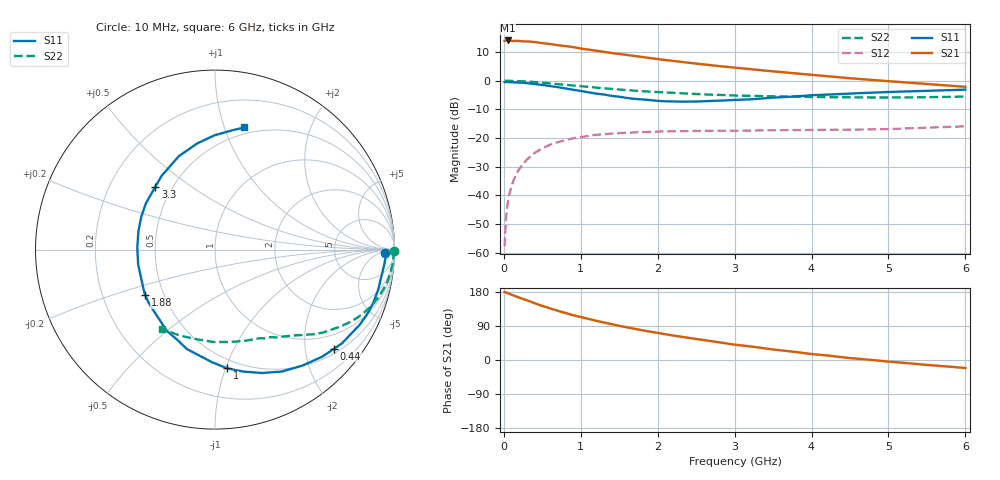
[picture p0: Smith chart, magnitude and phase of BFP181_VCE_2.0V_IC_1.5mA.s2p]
! Infineon Technologies  Discrete & RF Semiconductors
! BFP181
! VCE = 2.0 V,  IC =  1.5 mA
! Common Emitter S-Parameters:  Jan 2016
# GHz  S  MA  R  50
!  f  S11  S21  S12  S22
! GHz  MAG  ANG  MAG  ANG  MAG  ANG  MAG  ANG
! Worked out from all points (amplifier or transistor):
!   210 points, 10 MHz to 6 GHz, reference 50 ohm
!   highest |S21| = 14.1 dB at 50 MHz (marker M1)
!   |S21| within 3 dB of that: start of sweep to 1.055 GHz
!   unconditionally stable (mu >= 1): 2.637 GHz to end of sweep
!   at 185 MHz: K = 0.08, MSG = 22.7 dB, |S12| = -31.5 dB
!   at 1.52 GHz: K = 0.62, MSG = 13.8 dB, |S12| = -18.2 dB
!   at 6 GHz: K = 1.21, MAG = 4.1 dB, |S12| = -15.9 dB
!   S11 on the Smith chart (normalised r, x): 10 MHz: 32, -11; 440 MHz: 0.61, -2.65; 1 GHz: 0.43, -1.01; 1.88 GHz: 0.39, -0.25; 3.3 GHz: 0.40, +0.37; 6 GHz: 0.44, +1.17
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0.01  0.9452 -1.1  4.975 179.5  0.0013 96.7  0.9985 -0.4
0.03  0.9512 -2.7  5.03 178.1  0.0041 85.9  0.9982 -1.3
0.05  0.9482 -4.4  5.043 176.2  0.0073 88.0  0.9951 -2.2
0.095  0.9396 -8.7  4.939 172.8  0.0136 83.6  0.9945 -4.0
0.17  0.9331 -15.8  4.963 166.9  0.0246 79.7  0.9863 -7.2
0.3  0.9086 -27.4  4.854 157.7  0.0421 72.9  0.9688 -12.4
0.4  0.8796 -36.4  4.747 149.5  0.0549 67.7  0.9493 -16.3
0.44  0.8633 -39.7  4.65 146.8  0.0592 65.2  0.9394 -17.7
0.6  0.8093 -53.0  4.379 136.2  0.0765 57.7  0.9016 -23.0
0.8  0.7359 -69.1  4.05 123.9  0.0922 49.1  0.8497 -28.6
1  0.6647 -84.2  3.648 113.2  0.1041 42.1  0.7989 -33.4
1.02  0.6565 -85.6  3.619 112.2  0.1052 41.5  0.7946 -33.8
1.2  0.597 -98.4  3.34 103.4  0.114 35.7  0.7581 -37.6
1.5  0.5266 -120.9  2.943 90.1  0.1221 29.1  0.7012 -42.4
1.88  0.463 -147.1  2.51 75.7  0.1285 22.7  0.6476 -47.8
2.02  0.4439 -156.8  2.368 70.8  0.1304 20.8  0.6328 -49.5
2.42  0.4329 177.3  2.047 57.8  0.1332 16.2  0.5955 -55.3
3.1  0.4672 141.8  1.645 38.3  0.1346 11.6  0.5483 -64.9
3.3  0.4827 133.4  1.545 33.3  0.1357 10.7  0.5412 -68.1
4.1  0.5647 108.6  1.234 13.9  0.1387 7.6  0.5189 -82.7
5.1  0.6424 88.6  0.96 -5.8  0.145 7.1  0.5098 -103.7
6  0.6997 76.5  0.783 -21.2  0.1605 6.1  0.5305 -123.5
